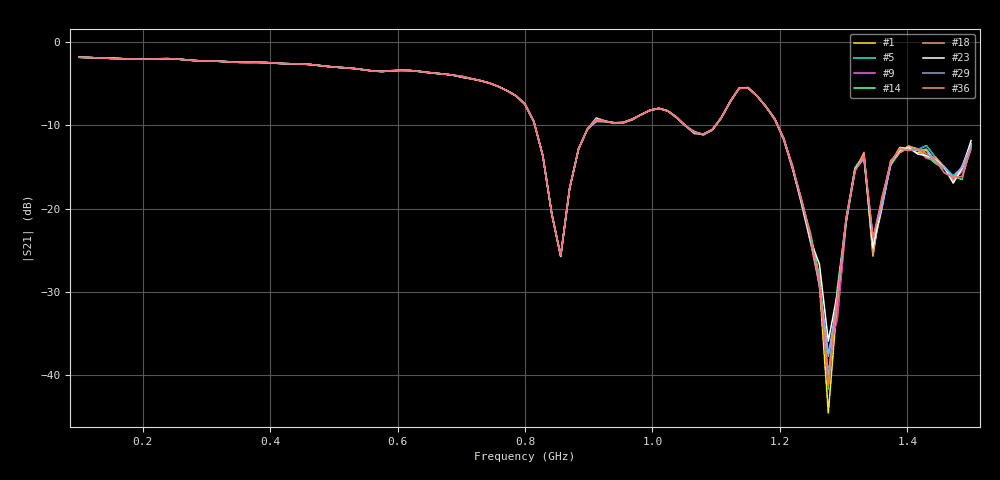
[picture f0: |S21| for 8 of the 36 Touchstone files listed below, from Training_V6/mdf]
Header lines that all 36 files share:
! NanoVNA-App
! Start: 100MHz Stop: 1,5GHz Points: 101
! S-Parameter data: F S11 S21 S12 S22
# Hz S RI R 50
!  Frequency  S11_Real  S11_Imag  S21_Real  S21_Imag  S12_Real  S12_Imag  S22_Real  S22_Imag
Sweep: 100 MHz to 1.5 GHz
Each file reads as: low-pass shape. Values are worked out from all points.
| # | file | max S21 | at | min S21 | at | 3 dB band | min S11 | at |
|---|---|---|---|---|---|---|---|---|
| 1 | mdf (401).s2p | -1.80 dB | 100 MHz | -44.6 dB | 1.276 GHz | 100 MHz-730 MHz | -39.0 dB | 128 MHz |
| 2 | mdf (402).s2p | -1.80 dB | 100 MHz | -42.4 dB | 1.276 GHz | 100 MHz-730 MHz | -39.0 dB | 128 MHz |
| 3 | mdf (403).s2p | -1.80 dB | 100 MHz | -37.7 dB | 1.276 GHz | 100 MHz-730 MHz | -39.0 dB | 128 MHz |
| 4 | mdf (404).s2p | -1.80 dB | 100 MHz | -38.9 dB | 1.276 GHz | 100 MHz-730 MHz | -39.0 dB | 128 MHz |
| 5 | mdf (405).s2p | -1.80 dB | 100 MHz | -40.1 dB | 1.276 GHz | 100 MHz-730 MHz | -39.0 dB | 128 MHz |
| 6 | mdf (407).s2p | -1.80 dB | 100 MHz | -38.5 dB | 1.276 GHz | 100 MHz-730 MHz | -39.0 dB | 128 MHz |
| 7 | mdf (408).s2p | -1.80 dB | 100 MHz | -41.5 dB | 1.276 GHz | 100 MHz-730 MHz | -39.0 dB | 128 MHz |
| 8 | mdf (409).s2p | -1.80 dB | 100 MHz | -40.9 dB | 1.276 GHz | 100 MHz-730 MHz | -39.0 dB | 128 MHz |
| 9 | mdf (411).s2p | -1.80 dB | 100 MHz | -37.4 dB | 1.276 GHz | 100 MHz-730 MHz | -39.0 dB | 128 MHz |
| 10 | mdf (412).s2p | -1.80 dB | 100 MHz | -39.8 dB | 1.276 GHz | 100 MHz-730 MHz | -39.0 dB | 128 MHz |
| 11 | mdf (413).s2p | -1.80 dB | 100 MHz | -40.9 dB | 1.276 GHz | 100 MHz-730 MHz | -39.0 dB | 128 MHz |
| 12 | mdf (414).s2p | -1.80 dB | 100 MHz | -43.2 dB | 1.276 GHz | 100 MHz-730 MHz | -39.0 dB | 128 MHz |
| 13 | mdf (415).s2p | -1.80 dB | 100 MHz | -38.8 dB | 1.276 GHz | 100 MHz-730 MHz | -39.0 dB | 128 MHz |
| 14 | mdf (416).s2p | -1.80 dB | 100 MHz | -41.7 dB | 1.276 GHz | 100 MHz-730 MHz | -39.0 dB | 128 MHz |
| 15 | mdf (419).s2p | -1.80 dB | 100 MHz | -38.6 dB | 1.276 GHz | 100 MHz-730 MHz | -39.0 dB | 128 MHz |
| 16 | mdf (420).s2p | -1.80 dB | 100 MHz | -41.3 dB | 1.276 GHz | 100 MHz-730 MHz | -39.0 dB | 128 MHz |
| 17 | mdf (421).s2p | -1.80 dB | 100 MHz | -39.6 dB | 1.276 GHz | 100 MHz-730 MHz | -39.0 dB | 128 MHz |
| 18 | mdf (422).s2p | -1.80 dB | 100 MHz | -40.6 dB | 1.276 GHz | 100 MHz-730 MHz | -39.0 dB | 128 MHz |
| 19 | mdf (423).s2p | -1.80 dB | 100 MHz | -37.6 dB | 1.276 GHz | 100 MHz-730 MHz | -39.0 dB | 128 MHz |
| 20 | mdf (424).s2p | -1.80 dB | 100 MHz | -37.2 dB | 1.276 GHz | 100 MHz-730 MHz | -39.0 dB | 128 MHz |
| 21 | mdf (425).s2p | -1.80 dB | 100 MHz | -37.6 dB | 1.276 GHz | 100 MHz-730 MHz | -39.0 dB | 128 MHz |
| 22 | mdf (426).s2p | -1.80 dB | 100 MHz | -44.7 dB | 1.276 GHz | 100 MHz-730 MHz | -39.0 dB | 128 MHz |
| 23 | mdf (427).s2p | -1.80 dB | 100 MHz | -35.9 dB | 1.276 GHz | 100 MHz-730 MHz | -39.0 dB | 128 MHz |
| 24 | mdf (428).s2p | -1.80 dB | 100 MHz | -37.2 dB | 1.276 GHz | 100 MHz-730 MHz | -39.0 dB | 128 MHz |
| 25 | mdf (429).s2p | -1.80 dB | 100 MHz | -36.9 dB | 1.276 GHz | 100 MHz-730 MHz | -39.0 dB | 128 MHz |
| 26 | mdf (430).s2p | -1.80 dB | 100 MHz | -39.5 dB | 1.276 GHz | 100 MHz-730 MHz | -39.0 dB | 128 MHz |
| 27 | mdf (431).s2p | -1.80 dB | 100 MHz | -36.8 dB | 1.276 GHz | 100 MHz-730 MHz | -39.0 dB | 128 MHz |
| 28 | mdf (432).s2p | -1.80 dB | 100 MHz | -41.7 dB | 1.276 GHz | 100 MHz-730 MHz | -39.0 dB | 128 MHz |
| 29 | mdf (433).s2p | -1.80 dB | 100 MHz | -37.8 dB | 1.276 GHz | 100 MHz-730 MHz | -39.0 dB | 128 MHz |
| 30 | mdf (434).s2p | -1.80 dB | 100 MHz | -39.5 dB | 1.276 GHz | 100 MHz-730 MHz | -39.0 dB | 128 MHz |
| 31 | mdf (435).s2p | -1.80 dB | 100 MHz | -36.9 dB | 1.276 GHz | 100 MHz-730 MHz | -39.0 dB | 128 MHz |
| 32 | mdf (436).s2p | -1.80 dB | 100 MHz | -40.5 dB | 1.276 GHz | 100 MHz-730 MHz | -39.0 dB | 128 MHz |
| 33 | mdf (437).s2p | -1.80 dB | 100 MHz | -39.1 dB | 1.276 GHz | 100 MHz-730 MHz | -39.0 dB | 128 MHz |
| 34 | mdf (438).s2p | -1.80 dB | 100 MHz | -36.9 dB | 1.276 GHz | 100 MHz-730 MHz | -39.0 dB | 128 MHz |
| 35 | mdf (439).s2p | -1.80 dB | 100 MHz | -36.6 dB | 1.276 GHz | 100 MHz-730 MHz | -39.0 dB | 128 MHz |
| 36 | mdf (440).s2p | -1.80 dB | 100 MHz | -41.2 dB | 1.276 GHz | 100 MHz-730 MHz | -39.0 dB | 128 MHz |
